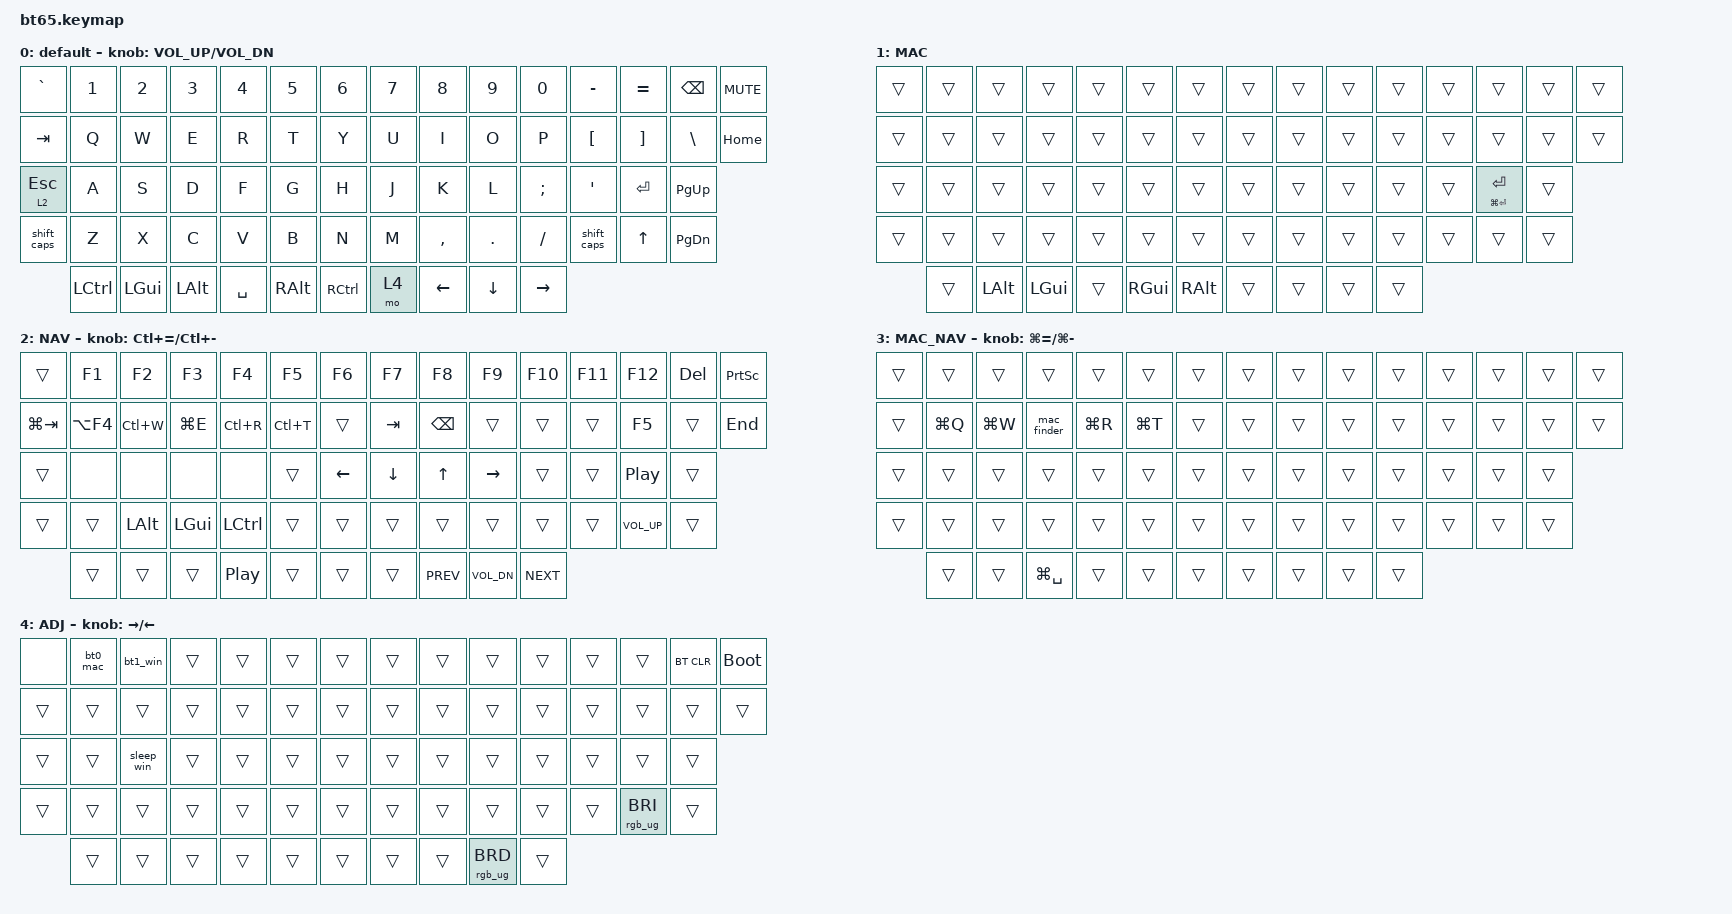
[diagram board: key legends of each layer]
#include <behaviors.dtsi>
#include <dt-bindings/zmk/bt.h>
#include <dt-bindings/zmk/keys.h>
#include <dt-bindings/zmk/rgb.h>

#define BASE    0
#define MAC     1
#define NAV     2
#define NAV_MAC 3
#define KB_FN   4

/ {
    conditional_layers {
        compatible = "zmk,conditional-layers";

        tri_layer {
            if-layers = <1 2>;
            then-layer = <3>;
        };
    };

    macros {
        bt0_mac: bt0_mac {
            compatible = "zmk,behavior-macro";
            label = "layer_1_rgb";
            #binding-cells = <0>;
            bindings =
                <&macro_tap>,
                <&bt BT_SEL 0 &to 1>;
        };
        bt1_win: bt1_win {
            compatible = "zmk,behavior-macro";
            label = "layer_0_rgb";
            #binding-cells = <0>;
            bindings =
                <&macro_tap>,
                <&bt BT_SEL 1 &to 0>;
        };
        sleep_win: sleep_win {
            compatible = "zmk,behavior-macro";
            label = "sleep_win";
            #binding-cells = <0>;
            bindings =
                <&macro_press>,
                <&kp LEFT_GUI>,
                <&macro_tap>,
                <&kp X>,
                <&macro_release>,
                <&kp LEFT_GUI>,
                <&macro_tap>,
                <&kp U &kp S>;

            wait-ms = <30>;
        };
        spc_dot_shift: spc_dot_shift {
            compatible = "zmk,behavior-macro";
            label = "new_macro";
            #binding-cells = <0>;
            bindings = <&kp DOT &kp SPACE &sk LSHFT>;
        };
        mac_finder: mac_finder {
            compatible = "zmk,behavior-macro";
            label = "mac_finder";
            #binding-cells = <0>;
            bindings =
                <&kp LG(SPACE)>,
                <&macro_wait_time 2>,
                <&kp F &kp I &kp N &kp D &kp E &kp R &kp RET>;

            wait-ms = <30>;
        };
    };

    combos {
        compatible = "zmk,combos";

        combo_win_copy {
            bindings = <&longpress LS(INS) LC(INS)>;
            key-positions = <47 48>;
            timeout-ms = <50>;
            layers = <0>;
        };

        combo_mac_copy {
            bindings = <&longpress LG(V) LG(C)>;
            key-positions = <47 48>;
            layers = <1>;
        };

        combo_enter {
            bindings = <&kp ENTER>;
            key-positions = <37 38>;
        };

        combo_bspc {
            bindings = <&bspc_morph>;
            key-positions = <24 23>;
        };
    };

    behaviors {
        shift_caps: shift_caps {
            compatible = "zmk,behavior-tap-dance";
            label = "SHIFT_CAPS";
            #binding-cells = <0>;
            bindings =
                <&skq LSHFT>,
                <&caps_word>,
                <&kp K_CANCEL>;

            tapping-term-ms = <250>;
        };
        longpress: longpress {
            compatible = "zmk,behavior-hold-tap";
            label = "LONGPRESS";
            bindings =
                <&kp>,
                <&kp>;

            #binding-cells = <2>;
            tapping-term-ms = <250>;
            flavor = "tap-preferred";
        };
        space_morph: space_morph {
            compatible = "zmk,behavior-mod-morph";
            label = "SPACE_MORPH";
            bindings =
                <&kp SPACE>,
                <&spc_dot_shift>;

            #binding-cells = <0>;
            mods = <(MOD_LSFT|MOD_RSFT)>;
        };
        bspc_morph: bspc_morph {
            compatible = "zmk,behavior-mod-morph";
            label = "BSPC_MORPH";
            bindings =
                <&kp BSPC>,
                <&kp DEL>;

            #binding-cells = <0>;
            mods = <(MOD_LSFT|MOD_RSFT)>;
        };
        skq: skq {
            compatible = "zmk,behavior-sticky-key";
            label = "SKQ";
            bindings = <&kp>;
            #binding-cells = <1>;
            quick-release;
            release-after-ms = <500>;
        };
        nav_t: nav_t {
            compatible = "zmk,behavior-hold-tap";
            label = "NAV_T";
            bindings =
                <&mo>,
                <&kp>;

            #binding-cells = <2>;
            quick-tap-ms = <200>;
            tapping-term-ms = <250>;
            hold-trigger-key-positions = <>;
            flavor = "hold-preferred";
        };
        shf_t: shf_t {
            compatible = "zmk,behavior-hold-tap";
            label = "SHF_T";
            bindings =
                <&kp>,
                <&kp>;

            #binding-cells = <2>;
            tapping-term-ms = <180>;
            flavor = "hold-preferred";
            quick-tap-ms = <180>;
            hold-trigger-on-release;
        };
    };

    keymap {
        compatible = "zmk,keymap";

        default {
            // ------------------------------------------------------------------------------------------------------------
            // |  `  |  1  |  2  |  3  |  4  |  5  |  6  |  7  |  8  |  9  |  0  |  -  |  =  |BKSP | INS		|
            // | TAB  |  Q  |  W  |  E  |  R  |  T  |  Y  |  U  |  I  |  O  |  P  |  [  |  ]  |   \    | DEL		|
            // | CAPS  |  A  |  S  |  D  |  F  |  G  |  H  |  J  |  K  |  L  |  ;  |  '  |     ENTER    |PGUP	|
            // |  SHIFT  |  Z  |  X  |  C  |  V  |  B  |  N  |  M  |  ,  |  .  | /   |   SHIFT  | UP   | PGDN|
            // |  CTL  |  WIN  |  ALT  |            SPACE               | ALT | 1    |  MENU| LEFT |  DOWN    | RIGHT	|
            // ------------------------------------------------------------------------------------------------------------

            bindings = <
   &kp GRAVE     &kp N1    &kp N2    &kp N3     &kp N4    &kp N5     &kp N6  &kp N7     &kp N8    &kp N9     &kp N0    &kp MINUS  &kp EQUAL  &kp BACKSPACE  &kp C_MUTE
     &kp TAB      &kp Q     &kp W     &kp E      &kp R     &kp T      &kp Y   &kp U      &kp I     &kp O      &kp P     &kp LBKT   &kp RBKT       &kp BSLH    &kp HOME
&nav_t 2 ESC      &kp A     &kp S     &kp D      &kp F     &kp G      &kp H   &kp J      &kp K     &kp L   &kp SEMI     &kp APOS    &kp RET      &kp PG_UP
 &shift_caps      &kp Z     &kp X     &kp C      &kp V     &kp B      &kp N   &kp M  &kp COMMA   &kp DOT  &kp SLASH  &shift_caps     &kp UP      &kp PG_DN
              &kp LCTRL  &kp LGUI  &kp LALT  &kp SPACE  &kp RALT  &kp RCTRL   &mo 4   &kp LEFT  &kp DOWN  &kp RIGHT
            >;

            sensor-bindings = <&inc_dec_kp C_VOL_UP C_VOL_DN>;
        };

        MAC {
            bindings = <
&trans  &trans        &trans    &trans  &trans         &trans         &trans  &trans  &trans  &trans  &trans  &trans                      &trans  &trans  &trans
&trans  &trans        &trans    &trans  &trans         &trans         &trans  &trans  &trans  &trans  &trans  &trans                      &trans  &trans  &trans
&trans  &trans        &trans    &trans  &trans         &trans         &trans  &trans  &trans  &trans  &trans  &trans  &longpress LG(ENTER) ENTER  &trans
&trans  &trans        &trans    &trans  &trans         &trans         &trans  &trans  &trans  &trans  &trans  &trans                      &trans  &trans
        &trans  &kp LEFT_ALT  &kp LGUI  &trans  &kp RIGHT_GUI  &kp RIGHT_ALT  &trans  &trans  &trans  &trans
            >;
        };

        NAV {
            bindings = <
     &trans      &kp F1        &kp F2        &kp F3            &kp F4     &kp F5    &kp F6    &kp F7         &kp F8        &kp F9     &kp F10  &kp F11           &kp F12  &kp DEL  &kp PRINTSCREEN
&kp LG(TAB)  &kp LA(F4)     &kp LC(W)     &kp LG(E)         &kp LC(R)  &kp LC(T)    &trans   &kp TAB  &kp BACKSPACE        &trans      &trans   &trans            &kp F5   &trans          &kp END
     &trans       &none         &none         &none             &none     &trans  &kp LEFT  &kp DOWN         &kp UP     &kp RIGHT      &trans   &trans  &kp C_PLAY_PAUSE   &trans
     &trans      &trans  &kp LEFT_ALT  &kp LEFT_GUI         &kp LCTRL     &trans    &trans    &trans         &trans        &trans      &trans   &trans      &kp C_VOL_UP   &trans
                 &trans        &trans        &trans  &kp C_PLAY_PAUSE     &trans    &trans    &trans     &kp C_PREV  &kp C_VOL_DN  &kp C_NEXT
            >;

            sensor-bindings = <&inc_dec_kp LC(EQUAL) LC(MINUS)>;
        };

        MAC_NAV {
            bindings = <
&trans     &trans     &trans         &trans     &trans     &trans  &trans  &trans  &trans  &trans  &trans  &trans  &trans  &trans  &trans
&trans  &kp LG(Q)  &kp LG(W)    &mac_finder  &kp LG(R)  &kp LG(T)  &trans  &trans  &trans  &trans  &trans  &trans  &trans  &trans  &trans
&trans     &trans     &trans         &trans     &trans     &trans  &trans  &trans  &trans  &trans  &trans  &trans  &trans  &trans
&trans     &trans     &trans         &trans     &trans     &trans  &trans  &trans  &trans  &trans  &trans  &trans  &trans  &trans
           &trans     &trans  &kp LG(SPACE)     &trans     &trans  &trans  &trans  &trans  &trans  &trans
            >;

            sensor-bindings = <&inc_dec_kp LG(EQUAL) LG(MINUS)>;
        };

        ADJ {
            bindings = <
 &none  &bt0_mac    &bt1_win  &trans  &trans  &trans  &trans  &trans  &trans           &trans  &trans  &trans           &trans  &bt BT_CLR  &bootloader
&trans    &trans      &trans  &trans  &trans  &trans  &trans  &trans  &trans           &trans  &trans  &trans           &trans      &trans       &trans
&trans    &trans  &sleep_win  &trans  &trans  &trans  &trans  &trans  &trans           &trans  &trans  &trans           &trans      &trans
&trans    &trans      &trans  &trans  &trans  &trans  &trans  &trans  &trans           &trans  &trans  &trans  &rgb_ug RGB_BRI      &trans
          &trans      &trans  &trans  &trans  &trans  &trans  &trans  &trans  &rgb_ug RGB_BRD  &trans
            >;

            sensor-bindings = <&inc_dec_kp RIGHT LEFT>;
        };
    };
};
